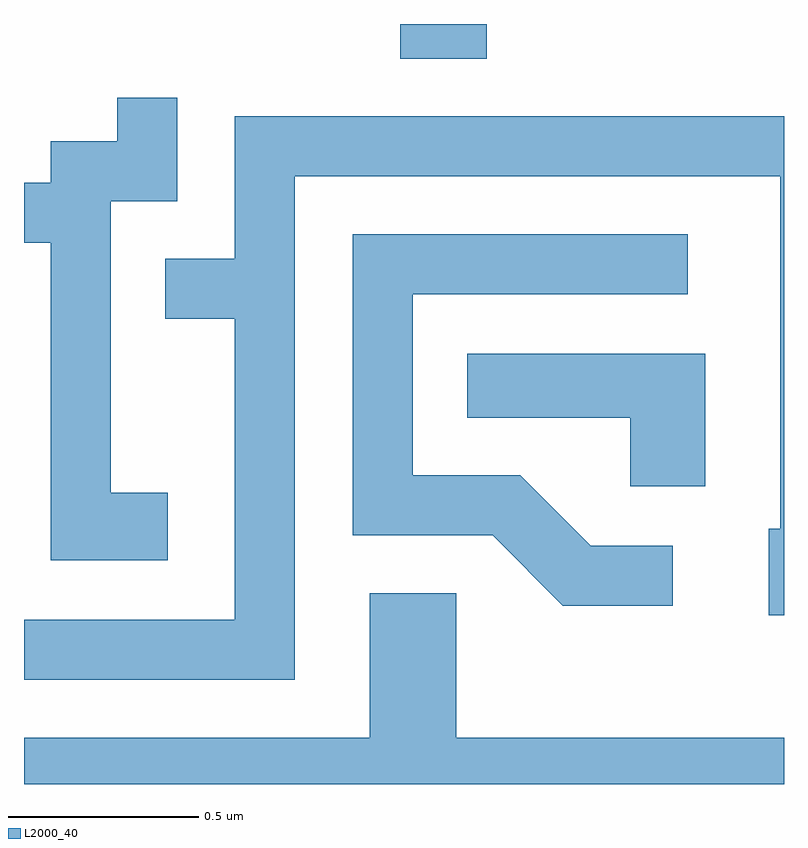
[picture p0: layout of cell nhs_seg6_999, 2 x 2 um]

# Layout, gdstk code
import gdstk
lib = gdstk.Library(unit=1e-6, precision=1e-09)
def R(c, l, rs):  # rectangles x0, y0, x1, y1
    for r in rs: c.add(gdstk.rectangle(r[:2], r[2:], *l))
def P(c, l, *ps):  # polygons
    for p in ps: c.add(gdstk.Polygon(p, *l))
L2000_40 = (2000, 40)

nhs_seg6_999 = lib.new_cell('nhs_seg6_999')
R(nhs_seg6_999, L2000_40, [(193.601,1572.071,193.829,1572.162)])
P(nhs_seg6_999, L2000_40, [(192.989,1570.929),(192.839,1570.929),(192.839,1571.696),(193.014,1571.696),(193.014,1571.968),(192.856,1571.968),(192.856,1571.854),(192.681,1571.854),(192.681,1571.744),(192.611,1571.744),(192.611,1571.586),(192.681,1571.586),(192.681,1570.751),(192.989,1570.751)],
  [(193.324,1571.761),(194.601,1571.761),(194.601,1570.834),(194.571,1570.834),(194.571,1570.606),(194.611,1570.606),(194.611,1571.919),(193.166,1571.919),(193.166,1571.544),(192.983,1571.544),(192.983,1571.386),(193.166,1571.386),(193.166,1570.594),(192.611,1570.594),(192.611,1570.436),(193.324,1570.436)],
  [(194.318,1570.789),(194.102,1570.789),(193.917,1570.974),(193.634,1570.974),(193.634,1571.451),(194.358,1571.451),(194.358,1571.609),(193.476,1571.609),(193.476,1570.816),(193.844,1570.816),(194.029,1570.631),(194.318,1570.631)],
  [(194.404,1571.294),(193.778,1571.294),(193.778,1571.126),(194.206,1571.126),(194.206,1570.946),(194.404,1570.946)],
  [(194.611,1570.284),(193.749,1570.284),(193.749,1570.664),(193.521,1570.664),(193.521,1570.284),(192.611,1570.284),(192.611,1570.162),(194.611,1570.162)])

lib.write_gds('nhs_seg6_999.gds')
